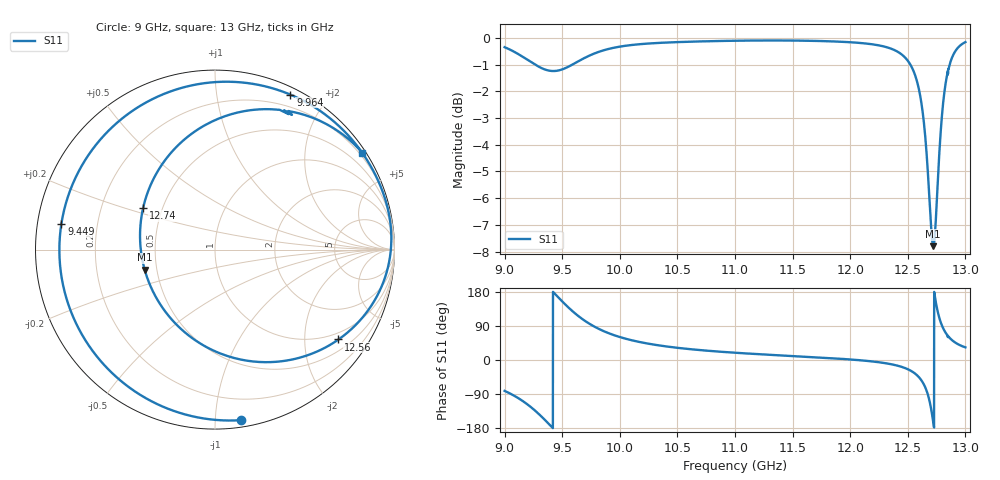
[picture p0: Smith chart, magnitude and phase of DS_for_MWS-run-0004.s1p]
! TOUCHSTONE file generated by CST DESIGN STUDIO
! Date and time: Tue Feb  4 15:44:56 2025
! Project name: C:\Work\MatlabApps\UnitCellOptimizationMatlab\CST\unitcell.cst
! Tree item: Tasks\Sweep1\SPara1\S-Parameters
! Header version: 2024
! Port assignment regex: !\s*Touchstone port\s*([0-9]+)\s*=\s*(CST MWS port|CST DES external port|CST DES block port)\s*(.+)\s* \(\"(.*)\"\)(\s*mode\s*([0-9]+))?.*
! Touchstone port assignment:
! Touchstone port 1 = CST DES external port 1 ("")
# GHz S MA R 50
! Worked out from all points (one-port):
!   4001 points, 9 GHz to 13 GHz, reference 50 ohm
!   lowest |S11| = -7.8 dB at 12.72 GHz (marker M1), VSWR 2.38, Z = 21.4 - j5.74 ohm
!   |S11| at or under -10 dB: nowhere
!   S11 on the Smith chart (normalised r, x): 9 GHz: 0.05, -1.16; 9.449 GHz: 0.07, +0.08; 9.964 GHz: 0.07, +1.60; 12.56 GHz: 0.79, -2.88; 12.74 GHz: 0.39, +0.23; 13 GHz: 0.11, +3.34
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9  0.961 -81.5
9.126  0.9309 -102.0
9.229  0.9013 -124.5
9.351  0.8727 -158.5
9.449  0.8679 170.6
9.5  0.8733 154.6
9.596  0.8934 127.0
9.692  0.917 104.4
9.827  0.9434 80.7
9.964  0.9602 64.1
10  0.9633 60.6
10.214  0.9751 44.9
10.5  0.9823 32.2
11  0.9882 19.2
11.5  0.9889 10.4
12  0.9818 1.4
12.305  0.9625 -8.4
12.5  0.9065 -24.3
12.564  0.851 -36.1
12.615  0.763 -52.3
12.661  0.6167 -79.3
12.691  0.4864 -111.4
12.721  0.4075 -164.1
12.745  0.4632 149.8
12.782  0.6503 102.9
12.82  0.7989 76.2
12.896  0.931 49.4
13  0.9822 33.3
